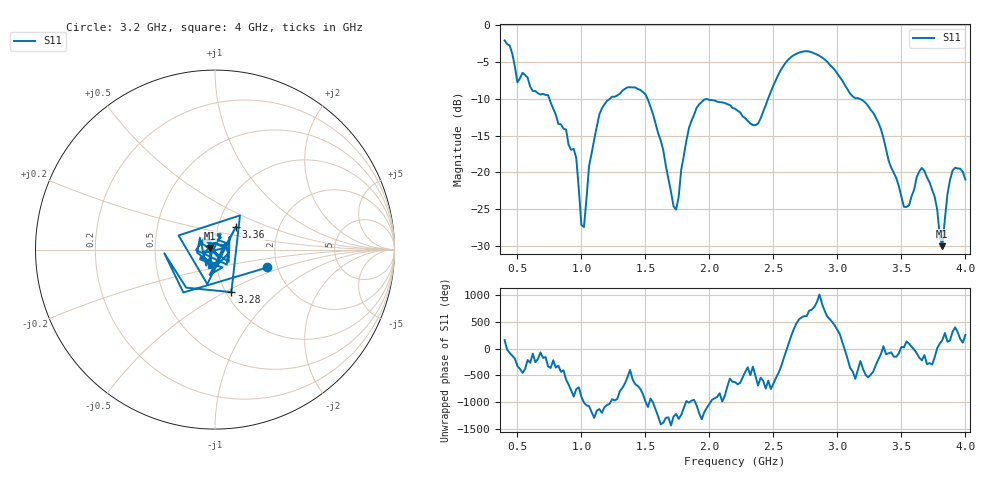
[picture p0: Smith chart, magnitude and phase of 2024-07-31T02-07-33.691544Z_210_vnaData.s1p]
!Created with skrf (http://scikit-rf.org).
# Hz S RI R 50.0
!freq ReS11 ImS11
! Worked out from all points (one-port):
!   181 points, 400 MHz to 4 GHz, reference 50 ohm
!   lowest |S11| = -30.1 dB at 3.82 GHz (marker M1), VSWR 1.06, Z = 47.1 + j0.919 ohm
!   |S11| at or under -10 dB: 749.9 MHz to 1.223 GHz (473 MHz wide, 48 % of centre); 1.517 GHz to 2.458 GHz (941.2 MHz wide, 47.4 % of centre); 3.173 GHz to end of sweep
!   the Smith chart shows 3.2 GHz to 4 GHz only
!   S11 on the Smith chart (normalised r, x): 3.2 GHz: 1.77, -0.39; 3.28 GHz: 1.06, -0.54; 3.36 GHz: 1.22, +0.31; 4 GHz: 0.95, -0.17
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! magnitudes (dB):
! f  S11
! 400 MHz  -2.0
! 500 MHz  -7.8
! 740 MHz  -9.5
! 860 MHz  -14.1
! 960 MHz  -18.1
! 1 GHz  -27.2
! 1.02 GHz  -27.5
! 1.06 GHz  -19.2
! 1.14 GHz  -12.1
! 1.3 GHz  -9.3
! 1.5 GHz  -9.4
! 1.72 GHz  -24.6
! 1.76 GHz  -23.3
! 1.82 GHz  -15.7
! 1.9 GHz  -11.2
! 2.2 GHz  -11.3
! 2.38 GHz  -13.4
! 2.66 GHz  -4.0
! 3.1 GHz  -9.3
! 3.2 GHz  -10.2
! 3.28 GHz  -11.9
! 3.36 GHz  -15.4
! 3.56 GHz  -24.5
! 3.66 GHz  -19.4
! 3.76 GHz  -23.3
! 3.82 GHz  -30.1
! 3.9 GHz  -19.8
! 4 GHz  -21.0
